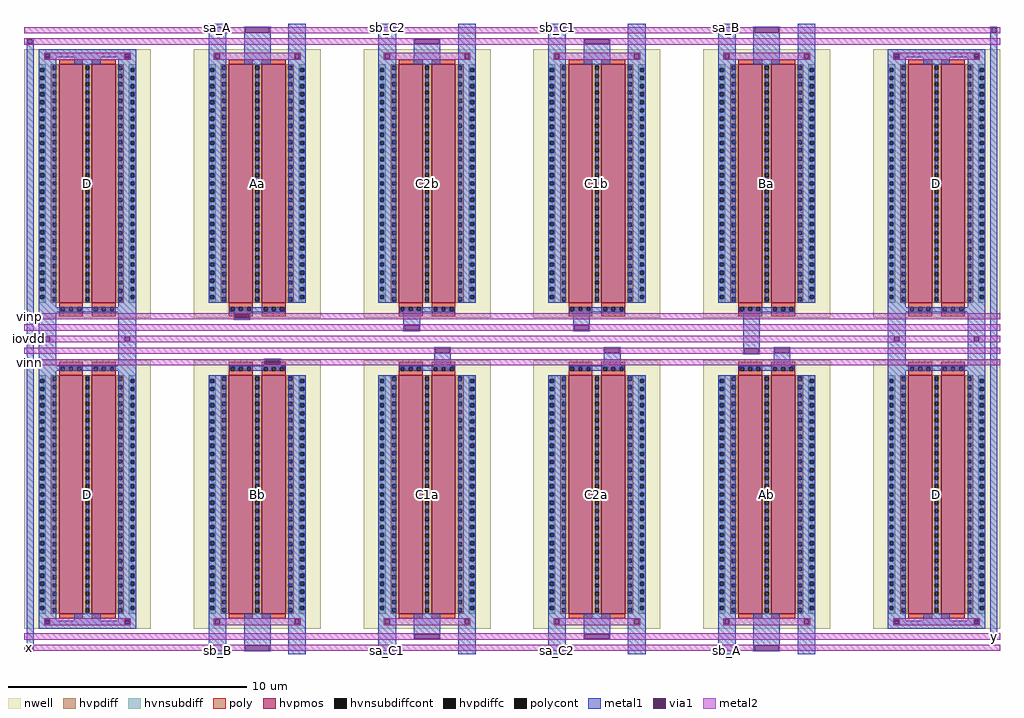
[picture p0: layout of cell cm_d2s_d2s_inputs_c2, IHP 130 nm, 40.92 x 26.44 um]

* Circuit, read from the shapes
.subckt cm_d2s_d2s_inputs_c2 iovdd vinn vref vfb vinp x y sb_B sa_C1 sa_C2 sb_A sa_A sb_C2 sb_C1 sa_B
XM1 iovdd iovdd iovdd iovdd sg13_hv_pmos w=10u l=1u m=8
XM2 x vinn sb_B sb_B sg13_hv_pmos w=10u l=1u m=2
XM3 y vinp sa_A sa_A sg13_hv_pmos w=10u l=1u m=2
XM4 y vref sa_C1 sa_C1 sg13_hv_pmos w=10u l=1u m=2
XM5 x vfb sb_C2 sb_C2 sg13_hv_pmos w=10u l=1u m=2
XM6 y vref sa_C2 sa_C2 sg13_hv_pmos w=10u l=1u m=2
XM7 x vfb sb_C1 sb_C1 sg13_hv_pmos w=10u l=1u m=2
XM8 x vref sb_A sb_A sg13_hv_pmos w=10u l=1u m=2
XM9 y vref sa_B sa_B sg13_hv_pmos w=10u l=1u m=2
.ends

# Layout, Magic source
magic
tech ihp-sg13cmos5l
magscale 1 2
<< metal1 >>
rect 22 5158 80 5167
rect 22 5118 31 5158
rect 71 5118 80 5158
rect 22 74 80 5118
rect 1548 5072 1696 5288
rect 1845 5254 2067 5263
rect 1845 5214 1854 5254
rect 2058 5214 2067 5254
rect 1845 5072 2067 5214
rect 2216 5072 2364 5288
rect 2972 5072 3120 5288
rect 3269 5158 3491 5167
rect 3269 5118 3278 5158
rect 3482 5118 3491 5158
rect 3269 5072 3491 5118
rect 3640 5072 3788 5288
rect 4396 5072 4544 5288
rect 4693 5158 4915 5167
rect 4693 5118 4702 5158
rect 4906 5118 4915 5158
rect 4693 5072 4915 5118
rect 5064 5072 5212 5288
rect 5820 5072 5968 5288
rect 6117 5254 6339 5263
rect 6117 5214 6126 5254
rect 6330 5214 6339 5254
rect 6117 5072 6339 5214
rect 6488 5072 6636 5288
rect 8104 5254 8162 5263
rect 8104 5214 8113 5254
rect 8153 5214 8162 5254
rect 124 5008 940 5072
rect 7244 5008 8060 5072
rect 124 2912 272 2948
rect 792 2912 940 2948
rect 124 2868 940 2912
rect 7244 2912 7392 2948
rect 7912 2912 8060 2948
rect 7244 2868 8060 2912
rect 124 2664 272 2868
rect 124 2624 178 2664
rect 218 2624 272 2664
rect 124 2420 272 2624
rect 792 2664 940 2868
rect 1758 2856 1898 2868
rect 1758 2816 1767 2856
rect 1889 2816 1898 2856
rect 1758 2807 1898 2816
rect 3182 2760 3322 2868
rect 3182 2720 3191 2760
rect 3313 2720 3322 2760
rect 3182 2711 3322 2720
rect 4606 2760 4746 2868
rect 4606 2720 4615 2760
rect 4737 2720 4746 2760
rect 4606 2711 4746 2720
rect 792 2624 846 2664
rect 886 2624 940 2664
rect 792 2420 940 2624
rect 3438 2566 3578 2575
rect 3438 2526 3447 2566
rect 3569 2526 3578 2566
rect 2014 2470 2154 2479
rect 2014 2430 2023 2470
rect 2145 2430 2154 2470
rect 2014 2420 2154 2430
rect 3438 2420 3578 2526
rect 4862 2566 5002 2575
rect 4862 2526 4871 2566
rect 4993 2526 5002 2566
rect 4862 2420 5002 2526
rect 6030 2566 6170 2868
rect 7244 2664 7392 2868
rect 7244 2624 7298 2664
rect 7338 2624 7392 2664
rect 6030 2526 6039 2566
rect 6161 2526 6170 2566
rect 6030 2517 6170 2526
rect 6286 2566 6426 2575
rect 6286 2526 6295 2566
rect 6417 2526 6426 2566
rect 6286 2420 6426 2526
rect 7244 2420 7392 2624
rect 7912 2664 8060 2868
rect 7912 2624 7966 2664
rect 8006 2624 8060 2664
rect 7912 2420 8060 2624
rect 124 2376 940 2420
rect 124 2340 272 2376
rect 792 2340 940 2376
rect 7244 2376 8060 2420
rect 7244 2340 7392 2376
rect 7912 2340 8060 2376
rect 124 216 940 280
rect 7244 216 8060 280
rect 22 34 31 74
rect 71 34 80 74
rect 22 25 80 34
rect 1548 0 1696 216
rect 1845 74 2067 216
rect 1845 34 1854 74
rect 2058 34 2067 74
rect 1845 25 2067 34
rect 2216 0 2364 216
rect 2972 0 3120 216
rect 3269 170 3491 216
rect 3269 130 3278 170
rect 3482 130 3491 170
rect 3269 121 3491 130
rect 3640 0 3788 216
rect 4396 0 4544 216
rect 4693 170 4915 216
rect 4693 130 4702 170
rect 4906 130 4915 170
rect 4693 121 4915 130
rect 5064 0 5212 216
rect 5820 0 5968 216
rect 6117 74 6339 216
rect 6117 34 6126 74
rect 6330 34 6339 74
rect 6117 25 6339 34
rect 6488 0 6636 216
rect 8104 170 8162 5214
rect 8104 130 8113 170
rect 8153 130 8162 170
rect 8104 121 8162 130
<< via1 >>
rect 31 5118 71 5158
rect 1854 5214 2058 5254
rect 3278 5118 3482 5158
rect 4702 5118 4906 5158
rect 6126 5214 6330 5254
rect 8113 5214 8153 5254
rect 178 2624 218 2664
rect 1767 2816 1889 2856
rect 3191 2720 3313 2760
rect 4615 2720 4737 2760
rect 846 2624 886 2664
rect 3447 2526 3569 2566
rect 2023 2430 2145 2470
rect 4871 2526 4993 2566
rect 7298 2624 7338 2664
rect 6039 2526 6161 2566
rect 6295 2526 6417 2566
rect 7966 2624 8006 2664
rect 31 34 71 74
rect 1854 34 2058 74
rect 3278 130 3482 170
rect 4702 130 4906 170
rect 6126 34 6330 74
rect 8113 130 8153 170
<< metal2 >>
rect 0 5254 8184 5260
rect 0 5214 1854 5254
rect 2058 5214 6126 5254
rect 6330 5214 8113 5254
rect 8153 5214 8184 5254
rect 0 5208 8184 5214
rect 0 5158 8184 5164
rect 0 5118 31 5158
rect 71 5118 3278 5158
rect 3482 5118 4702 5158
rect 4906 5118 8184 5158
rect 0 5112 8184 5118
rect 0 2856 8184 2862
rect 0 2816 1767 2856
rect 1889 2816 8184 2856
rect 0 2810 8184 2816
rect 0 2760 8184 2766
rect 0 2720 3191 2760
rect 3313 2720 4615 2760
rect 4737 2720 8184 2760
rect 0 2714 8184 2720
rect 0 2664 8184 2670
rect 0 2624 178 2664
rect 218 2624 846 2664
rect 886 2624 7298 2664
rect 7338 2624 7966 2664
rect 8006 2624 8184 2664
rect 0 2618 8184 2624
rect 0 2566 8184 2572
rect 0 2526 3447 2566
rect 3569 2526 4871 2566
rect 4993 2526 6039 2566
rect 6161 2526 6295 2566
rect 6417 2526 8184 2566
rect 0 2520 8184 2526
rect 0 2470 8184 2476
rect 0 2430 2023 2470
rect 2145 2430 8184 2470
rect 0 2424 8184 2430
rect 0 170 8184 176
rect 0 130 3278 170
rect 3482 130 4702 170
rect 4906 130 8113 170
rect 8153 130 8184 170
rect 0 124 8184 130
rect 0 74 8184 80
rect 0 34 31 74
rect 71 34 1854 74
rect 2058 34 6126 74
rect 6330 34 8184 74
rect 0 28 8184 34
use cm_d2s_tub_p20x1_c2  cm_d2s_tub_p20x1_c2_0
transform 1 0 7346 0 -1 4948
box -226 -124 838 2124
use cm_d2s_tub_p20x1_c2  cm_d2s_tub_p20x1_c2_1
transform 1 0 5922 0 -1 4948
box -226 -124 838 2124
use cm_d2s_tub_p20x1_c2  cm_d2s_tub_p20x1_c2_2
transform 1 0 4498 0 -1 4948
box -226 -124 838 2124
use cm_d2s_tub_p20x1_c2  cm_d2s_tub_p20x1_c2_3
transform 1 0 3074 0 -1 4948
box -226 -124 838 2124
use cm_d2s_tub_p20x1_c2  cm_d2s_tub_p20x1_c2_4
transform 1 0 1650 0 -1 4948
box -226 -124 838 2124
use cm_d2s_tub_p20x1_c2  cm_d2s_tub_p20x1_c2_5
transform 1 0 226 0 -1 4948
box -226 -124 838 2124
use cm_d2s_tub_p20x1_c2  cm_d2s_tub_p20x1_c2_6
transform 1 0 7346 0 1 340
box -226 -124 838 2124
use cm_d2s_tub_p20x1_c2  cm_d2s_tub_p20x1_c2_7
transform 1 0 5922 0 1 340
box -226 -124 838 2124
use cm_d2s_tub_p20x1_c2  cm_d2s_tub_p20x1_c2_8
transform 1 0 4498 0 1 340
box -226 -124 838 2124
use cm_d2s_tub_p20x1_c2  cm_d2s_tub_p20x1_c2_9
transform 1 0 3074 0 1 340
box -226 -124 838 2124
use cm_d2s_tub_p20x1_c2  cm_d2s_tub_p20x1_c2_10
transform 1 0 1650 0 1 340
box -226 -124 838 2124
use cm_d2s_tub_p20x1_c2  cm_d2s_tub_p20x1_c2_11
transform 1 0 226 0 1 340
box -226 -124 838 2124
<< labels >>
rlabel comment s 532 1340 532 1340 4 D
rlabel comment s 1956 1340 1956 1340 4 Bb
rlabel comment s 3380 1340 3380 1340 4 C1a
rlabel comment s 4804 1340 4804 1340 4 C2a
rlabel comment s 6228 1340 6228 1340 4 Ab
rlabel comment s 7652 1340 7652 1340 4 D
rlabel comment s 532 3948 532 3948 4 D
rlabel comment s 1956 3948 1956 3948 4 Aa
rlabel comment s 3380 3948 3380 3948 4 C2b
rlabel comment s 4804 3948 4804 3948 4 C1b
rlabel comment s 6228 3948 6228 3948 4 Ba
rlabel comment s 7652 3948 7652 3948 4 D
rlabel metal2 s 0 2618 100 2670 4 iovdd
port 2 nsew
rlabel metal2 s 0 2424 100 2476 4 vinn
port 3 nsew
rlabel metal2 s 0 2520 100 2572 4 vref
port 4 nsew
rlabel metal2 s 0 2714 100 2766 4 vfb
port 5 nsew
rlabel metal2 s 0 2810 100 2862 4 vinp
port 6 nsew
rlabel metal2 s 0 28 100 80 4 x
port 7 nsew
rlabel metal2 s 8084 124 8184 176 4 y
port 8 nsew
rlabel metal1 s 1548 0 1696 60 4 sb_B
port 9 nsew
rlabel metal1 s 2972 0 3120 60 4 sa_C1
port 10 nsew
rlabel metal1 s 4396 0 4544 60 4 sa_C2
port 11 nsew
rlabel metal1 s 5820 0 5968 60 4 sb_A
port 12 nsew
rlabel metal1 s 1548 5228 1696 5288 4 sa_A
port 13 nsew
rlabel metal1 s 2972 5228 3120 5288 4 sb_C2
port 14 nsew
rlabel metal1 s 4396 5228 4544 5288 4 sb_C1
port 15 nsew
rlabel metal1 s 5820 5228 5968 5288 4 sa_B
port 16 nsew
<< properties >>
string GDS_END 70332
string GDS_FILE custom_io/gds/sg13cmos5l_IOPadDiff2Single.uniq.gds
string GDS_START 61142
<< end >>

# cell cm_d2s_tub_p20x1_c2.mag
magic
tech ihp-sg13cmos5l
magscale 1 2
<< nwell >>
rect -226 -124 838 2124
<< hvnsubdiff >>
rect -102 1968 -42 2000
rect -102 1936 -88 1968
rect -56 1936 -42 1968
rect -102 1900 -42 1936
rect -102 1868 -88 1900
rect -56 1868 -42 1900
rect -102 1832 -42 1868
rect -102 1800 -88 1832
rect -56 1800 -42 1832
rect -102 1764 -42 1800
rect -102 1732 -88 1764
rect -56 1732 -42 1764
rect -102 1696 -42 1732
rect -102 1664 -88 1696
rect -56 1664 -42 1696
rect -102 1628 -42 1664
rect -102 1596 -88 1628
rect -56 1596 -42 1628
rect -102 1560 -42 1596
rect -102 1528 -88 1560
rect -56 1528 -42 1560
rect -102 1492 -42 1528
rect -102 1460 -88 1492
rect -56 1460 -42 1492
rect -102 1424 -42 1460
rect -102 1392 -88 1424
rect -56 1392 -42 1424
rect -102 1356 -42 1392
rect -102 1324 -88 1356
rect -56 1324 -42 1356
rect -102 1288 -42 1324
rect -102 1256 -88 1288
rect -56 1256 -42 1288
rect -102 1220 -42 1256
rect -102 1188 -88 1220
rect -56 1188 -42 1220
rect -102 1152 -42 1188
rect -102 1120 -88 1152
rect -56 1120 -42 1152
rect -102 1084 -42 1120
rect -102 1052 -88 1084
rect -56 1052 -42 1084
rect -102 1016 -42 1052
rect -102 984 -88 1016
rect -56 984 -42 1016
rect -102 948 -42 984
rect -102 916 -88 948
rect -56 916 -42 948
rect -102 880 -42 916
rect -102 848 -88 880
rect -56 848 -42 880
rect -102 812 -42 848
rect -102 780 -88 812
rect -56 780 -42 812
rect -102 744 -42 780
rect -102 712 -88 744
rect -56 712 -42 744
rect -102 676 -42 712
rect -102 644 -88 676
rect -56 644 -42 676
rect -102 608 -42 644
rect -102 576 -88 608
rect -56 576 -42 608
rect -102 540 -42 576
rect -102 508 -88 540
rect -56 508 -42 540
rect -102 472 -42 508
rect -102 440 -88 472
rect -56 440 -42 472
rect -102 404 -42 440
rect -102 372 -88 404
rect -56 372 -42 404
rect -102 336 -42 372
rect -102 304 -88 336
rect -56 304 -42 336
rect -102 268 -42 304
rect -102 236 -88 268
rect -56 236 -42 268
rect -102 200 -42 236
rect -102 168 -88 200
rect -56 168 -42 200
rect -102 132 -42 168
rect -102 100 -88 132
rect -56 100 -42 132
rect -102 64 -42 100
rect -102 32 -88 64
rect -56 32 -42 64
rect -102 0 -42 32
rect 654 1968 714 2000
rect 654 1936 668 1968
rect 700 1936 714 1968
rect 654 1900 714 1936
rect 654 1868 668 1900
rect 700 1868 714 1900
rect 654 1832 714 1868
rect 654 1800 668 1832
rect 700 1800 714 1832
rect 654 1764 714 1800
rect 654 1732 668 1764
rect 700 1732 714 1764
rect 654 1696 714 1732
rect 654 1664 668 1696
rect 700 1664 714 1696
rect 654 1628 714 1664
rect 654 1596 668 1628
rect 700 1596 714 1628
rect 654 1560 714 1596
rect 654 1528 668 1560
rect 700 1528 714 1560
rect 654 1492 714 1528
rect 654 1460 668 1492
rect 700 1460 714 1492
rect 654 1424 714 1460
rect 654 1392 668 1424
rect 700 1392 714 1424
rect 654 1356 714 1392
rect 654 1324 668 1356
rect 700 1324 714 1356
rect 654 1288 714 1324
rect 654 1256 668 1288
rect 700 1256 714 1288
rect 654 1220 714 1256
rect 654 1188 668 1220
rect 700 1188 714 1220
rect 654 1152 714 1188
rect 654 1120 668 1152
rect 700 1120 714 1152
rect 654 1084 714 1120
rect 654 1052 668 1084
rect 700 1052 714 1084
rect 654 1016 714 1052
rect 654 984 668 1016
rect 700 984 714 1016
rect 654 948 714 984
rect 654 916 668 948
rect 700 916 714 948
rect 654 880 714 916
rect 654 848 668 880
rect 700 848 714 880
rect 654 812 714 848
rect 654 780 668 812
rect 700 780 714 812
rect 654 744 714 780
rect 654 712 668 744
rect 700 712 714 744
rect 654 676 714 712
rect 654 644 668 676
rect 700 644 714 676
rect 654 608 714 644
rect 654 576 668 608
rect 700 576 714 608
rect 654 540 714 576
rect 654 508 668 540
rect 700 508 714 540
rect 654 472 714 508
rect 654 440 668 472
rect 700 440 714 472
rect 654 404 714 440
rect 654 372 668 404
rect 700 372 714 404
rect 654 336 714 372
rect 654 304 668 336
rect 700 304 714 336
rect 654 268 714 304
rect 654 236 668 268
rect 700 236 714 268
rect 654 200 714 236
rect 654 168 668 200
rect 700 168 714 200
rect 654 132 714 168
rect 654 100 668 132
rect 700 100 714 132
rect 654 64 714 100
rect 654 32 668 64
rect 700 32 714 64
rect 654 0 714 32
<< hvnsubdiffcont >>
rect -88 1936 -56 1968
rect -88 1868 -56 1900
rect -88 1800 -56 1832
rect -88 1732 -56 1764
rect -88 1664 -56 1696
rect -88 1596 -56 1628
rect -88 1528 -56 1560
rect -88 1460 -56 1492
rect -88 1392 -56 1424
rect -88 1324 -56 1356
rect -88 1256 -56 1288
rect -88 1188 -56 1220
rect -88 1120 -56 1152
rect -88 1052 -56 1084
rect -88 984 -56 1016
rect -88 916 -56 948
rect -88 848 -56 880
rect -88 780 -56 812
rect -88 712 -56 744
rect -88 644 -56 676
rect -88 576 -56 608
rect -88 508 -56 540
rect -88 440 -56 472
rect -88 372 -56 404
rect -88 304 -56 336
rect -88 236 -56 268
rect -88 168 -56 200
rect -88 100 -56 132
rect -88 32 -56 64
rect 668 1936 700 1968
rect 668 1868 700 1900
rect 668 1800 700 1832
rect 668 1732 700 1764
rect 668 1664 700 1696
rect 668 1596 700 1628
rect 668 1528 700 1560
rect 668 1460 700 1492
rect 668 1392 700 1424
rect 668 1324 700 1356
rect 668 1256 700 1288
rect 668 1188 700 1220
rect 668 1120 700 1152
rect 668 1052 700 1084
rect 668 984 700 1016
rect 668 916 700 948
rect 668 848 700 880
rect 668 780 700 812
rect 668 712 700 744
rect 668 644 700 676
rect 668 576 700 608
rect 668 508 700 540
rect 668 440 700 472
rect 668 372 700 404
rect 668 304 700 336
rect 668 236 700 268
rect 668 168 700 200
rect 668 100 700 132
rect 668 32 700 64
<< poly >>
rect 68 2068 268 2112
rect 68 2036 84 2068
rect 116 2036 152 2068
rect 184 2036 220 2068
rect 252 2036 268 2068
rect 68 2000 268 2036
rect 344 2068 544 2112
rect 344 2036 360 2068
rect 392 2036 428 2068
rect 460 2036 496 2068
rect 528 2036 544 2068
rect 344 2000 544 2036
<< polycont >>
rect 84 2036 116 2068
rect 152 2036 184 2068
rect 220 2036 252 2068
rect 360 2036 392 2068
rect 428 2036 460 2068
rect 496 2036 528 2068
<< metal1 >>
rect 74 2068 538 2080
rect 74 2036 84 2068
rect 116 2036 152 2068
rect 184 2036 220 2068
rect 252 2036 360 2068
rect 392 2036 428 2068
rect 460 2036 496 2068
rect 528 2036 538 2068
rect -102 1968 46 2000
rect -102 1936 -88 1968
rect -56 1936 46 1968
rect -102 1900 46 1936
rect -102 1868 -88 1900
rect -56 1868 46 1900
rect -102 1832 46 1868
rect -102 1800 -88 1832
rect -56 1800 46 1832
rect -102 1764 46 1800
rect -102 1732 -88 1764
rect -56 1732 46 1764
rect -102 1696 46 1732
rect -102 1664 -88 1696
rect -56 1664 46 1696
rect -102 1628 46 1664
rect -102 1596 -88 1628
rect -56 1596 46 1628
rect -102 1560 46 1596
rect -102 1528 -88 1560
rect -56 1528 46 1560
rect -102 1492 46 1528
rect -102 1460 -88 1492
rect -56 1460 46 1492
rect -102 1424 46 1460
rect -102 1392 -88 1424
rect -56 1392 46 1424
rect -102 1356 46 1392
rect -102 1324 -88 1356
rect -56 1324 46 1356
rect -102 1288 46 1324
rect -102 1256 -88 1288
rect -56 1256 46 1288
rect -102 1220 46 1256
rect -102 1188 -88 1220
rect -56 1188 46 1220
rect -102 1152 46 1188
rect -102 1120 -88 1152
rect -56 1120 46 1152
rect -102 1084 46 1120
rect -102 1052 -88 1084
rect -56 1052 46 1084
rect -102 1016 46 1052
rect -102 984 -88 1016
rect -56 984 46 1016
rect -102 948 46 984
rect -102 916 -88 948
rect -56 916 46 948
rect -102 880 46 916
rect -102 848 -88 880
rect -56 848 46 880
rect -102 812 46 848
rect -102 780 -88 812
rect -56 780 46 812
rect -102 744 46 780
rect -102 712 -88 744
rect -56 712 46 744
rect -102 676 46 712
rect -102 644 -88 676
rect -56 644 46 676
rect -102 608 46 644
rect -102 576 -88 608
rect -56 576 46 608
rect -102 540 46 576
rect -102 508 -88 540
rect -56 508 46 540
rect -102 472 46 508
rect -102 440 -88 472
rect -56 440 46 472
rect -102 404 46 440
rect -102 372 -88 404
rect -56 372 46 404
rect -102 336 46 372
rect -102 304 -88 336
rect -56 304 46 336
rect -102 268 46 304
rect -102 236 -88 268
rect -56 236 46 268
rect -102 200 46 236
rect -102 168 -88 200
rect -56 168 46 200
rect -102 132 46 168
rect -102 100 -88 132
rect -56 100 46 132
rect -102 64 46 100
rect -102 32 -88 64
rect -56 32 46 64
rect -102 -46 46 32
rect 566 1968 714 2000
rect 566 1936 668 1968
rect 700 1936 714 1968
rect 566 1900 714 1936
rect 566 1868 668 1900
rect 700 1868 714 1900
rect 566 1832 714 1868
rect 566 1800 668 1832
rect 700 1800 714 1832
rect 566 1764 714 1800
rect 566 1732 668 1764
rect 700 1732 714 1764
rect 566 1696 714 1732
rect 566 1664 668 1696
rect 700 1664 714 1696
rect 566 1628 714 1664
rect 566 1596 668 1628
rect 700 1596 714 1628
rect 566 1560 714 1596
rect 566 1528 668 1560
rect 700 1528 714 1560
rect 566 1492 714 1528
rect 566 1460 668 1492
rect 700 1460 714 1492
rect 566 1424 714 1460
rect 566 1392 668 1424
rect 700 1392 714 1424
rect 566 1356 714 1392
rect 566 1324 668 1356
rect 700 1324 714 1356
rect 566 1288 714 1324
rect 566 1256 668 1288
rect 700 1256 714 1288
rect 566 1220 714 1256
rect 566 1188 668 1220
rect 700 1188 714 1220
rect 566 1152 714 1188
rect 566 1120 668 1152
rect 700 1120 714 1152
rect 566 1084 714 1120
rect 566 1052 668 1084
rect 700 1052 714 1084
rect 566 1016 714 1052
rect 566 984 668 1016
rect 700 984 714 1016
rect 566 948 714 984
rect 566 916 668 948
rect 700 916 714 948
rect 566 880 714 916
rect 566 848 668 880
rect 700 848 714 880
rect 566 812 714 848
rect 566 780 668 812
rect 700 780 714 812
rect 566 744 714 780
rect 566 712 668 744
rect 700 712 714 744
rect 566 676 714 712
rect 566 644 668 676
rect 700 644 714 676
rect 566 608 714 644
rect 566 576 668 608
rect 700 576 714 608
rect 566 540 714 576
rect 566 508 668 540
rect 700 508 714 540
rect 566 472 714 508
rect 566 440 668 472
rect 700 440 714 472
rect 566 404 714 440
rect 566 372 668 404
rect 700 372 714 404
rect 566 336 714 372
rect 566 304 668 336
rect 700 304 714 336
rect 566 268 714 304
rect 566 236 668 268
rect 700 236 714 268
rect 566 200 714 236
rect 566 168 668 200
rect 700 168 714 200
rect 566 132 714 168
rect 566 100 668 132
rect 700 100 714 132
rect 566 64 714 100
rect 566 32 668 64
rect 700 32 714 64
rect -102 -86 -48 -46
rect -8 -86 46 -46
rect -102 -124 46 -86
rect 195 -124 417 0
rect 566 -46 714 32
rect 566 -86 620 -46
rect 660 -86 714 -46
rect 566 -124 714 -86
<< via1 >>
rect -48 -86 -8 -46
rect 620 -86 660 -46
<< metal2 >>
rect -57 -46 669 -37
rect -57 -86 -48 -46
rect -8 -86 620 -46
rect 660 -86 669 -46
rect -57 -95 669 -86
use cm_d2s_pmosHV_w20_l1_ng2  cm_d2s_pmosHV_w20_l1_ng2_0
transform 1 0 0 0 1 0
box -124 -124 736 2124
<< labels >>
rlabel comment s 306 1000 306 1000 4 M
<< properties >>
string GDS_END 12182
string GDS_FILE custom_io/gds/sg13cmos5l_IOPadDiff2Single.uniq.gds
string GDS_START 7036
<< end >>

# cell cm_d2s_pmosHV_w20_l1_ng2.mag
magic
tech ihp-sg13cmos5l
magscale 1 2
<< nwell >>
rect -124 -124 736 2124
<< hvpmos >>
rect 68 0 268 2000
rect 344 0 544 2000
<< hvpdiff >>
rect 0 1986 68 2000
rect 0 1954 14 1986
rect 46 1954 68 1986
rect 0 1916 68 1954
rect 0 1884 14 1916
rect 46 1884 68 1916
rect 0 1847 68 1884
rect 0 1815 14 1847
rect 46 1815 68 1847
rect 0 1778 68 1815
rect 0 1746 14 1778
rect 46 1746 68 1778
rect 0 1708 68 1746
rect 0 1676 14 1708
rect 46 1676 68 1708
rect 0 1639 68 1676
rect 0 1607 14 1639
rect 46 1607 68 1639
rect 0 1570 68 1607
rect 0 1538 14 1570
rect 46 1538 68 1570
rect 0 1501 68 1538
rect 0 1469 14 1501
rect 46 1469 68 1501
rect 0 1431 68 1469
rect 0 1399 14 1431
rect 46 1399 68 1431
rect 0 1362 68 1399
rect 0 1330 14 1362
rect 46 1330 68 1362
rect 0 1293 68 1330
rect 0 1261 14 1293
rect 46 1261 68 1293
rect 0 1223 68 1261
rect 0 1191 14 1223
rect 46 1191 68 1223
rect 0 1154 68 1191
rect 0 1122 14 1154
rect 46 1122 68 1154
rect 0 1085 68 1122
rect 0 1053 14 1085
rect 46 1053 68 1085
rect 0 1016 68 1053
rect 0 984 14 1016
rect 46 984 68 1016
rect 0 946 68 984
rect 0 914 14 946
rect 46 914 68 946
rect 0 877 68 914
rect 0 845 14 877
rect 46 845 68 877
rect 0 808 68 845
rect 0 776 14 808
rect 46 776 68 808
rect 0 738 68 776
rect 0 706 14 738
rect 46 706 68 738
rect 0 669 68 706
rect 0 637 14 669
rect 46 637 68 669
rect 0 600 68 637
rect 0 568 14 600
rect 46 568 68 600
rect 0 531 68 568
rect 0 499 14 531
rect 46 499 68 531
rect 0 461 68 499
rect 0 429 14 461
rect 46 429 68 461
rect 0 392 68 429
rect 0 360 14 392
rect 46 360 68 392
rect 0 323 68 360
rect 0 291 14 323
rect 46 291 68 323
rect 0 253 68 291
rect 0 221 14 253
rect 46 221 68 253
rect 0 184 68 221
rect 0 152 14 184
rect 46 152 68 184
rect 0 115 68 152
rect 0 83 14 115
rect 46 83 68 115
rect 0 46 68 83
rect 0 14 14 46
rect 46 14 68 46
rect 0 0 68 14
rect 268 1986 344 2000
rect 268 1954 290 1986
rect 322 1954 344 1986
rect 268 1916 344 1954
rect 268 1884 290 1916
rect 322 1884 344 1916
rect 268 1847 344 1884
rect 268 1815 290 1847
rect 322 1815 344 1847
rect 268 1778 344 1815
rect 268 1746 290 1778
rect 322 1746 344 1778
rect 268 1708 344 1746
rect 268 1676 290 1708
rect 322 1676 344 1708
rect 268 1639 344 1676
rect 268 1607 290 1639
rect 322 1607 344 1639
rect 268 1570 344 1607
rect 268 1538 290 1570
rect 322 1538 344 1570
rect 268 1501 344 1538
rect 268 1469 290 1501
rect 322 1469 344 1501
rect 268 1431 344 1469
rect 268 1399 290 1431
rect 322 1399 344 1431
rect 268 1362 344 1399
rect 268 1330 290 1362
rect 322 1330 344 1362
rect 268 1293 344 1330
rect 268 1261 290 1293
rect 322 1261 344 1293
rect 268 1223 344 1261
rect 268 1191 290 1223
rect 322 1191 344 1223
rect 268 1154 344 1191
rect 268 1122 290 1154
rect 322 1122 344 1154
rect 268 1085 344 1122
rect 268 1053 290 1085
rect 322 1053 344 1085
rect 268 1016 344 1053
rect 268 984 290 1016
rect 322 984 344 1016
rect 268 946 344 984
rect 268 914 290 946
rect 322 914 344 946
rect 268 877 344 914
rect 268 845 290 877
rect 322 845 344 877
rect 268 808 344 845
rect 268 776 290 808
rect 322 776 344 808
rect 268 738 344 776
rect 268 706 290 738
rect 322 706 344 738
rect 268 669 344 706
rect 268 637 290 669
rect 322 637 344 669
rect 268 600 344 637
rect 268 568 290 600
rect 322 568 344 600
rect 268 531 344 568
rect 268 499 290 531
rect 322 499 344 531
rect 268 461 344 499
rect 268 429 290 461
rect 322 429 344 461
rect 268 392 344 429
rect 268 360 290 392
rect 322 360 344 392
rect 268 323 344 360
rect 268 291 290 323
rect 322 291 344 323
rect 268 253 344 291
rect 268 221 290 253
rect 322 221 344 253
rect 268 184 344 221
rect 268 152 290 184
rect 322 152 344 184
rect 268 115 344 152
rect 268 83 290 115
rect 322 83 344 115
rect 268 46 344 83
rect 268 14 290 46
rect 322 14 344 46
rect 268 0 344 14
rect 544 1986 612 2000
rect 544 1954 566 1986
rect 598 1954 612 1986
rect 544 1916 612 1954
rect 544 1884 566 1916
rect 598 1884 612 1916
rect 544 1847 612 1884
rect 544 1815 566 1847
rect 598 1815 612 1847
rect 544 1778 612 1815
rect 544 1746 566 1778
rect 598 1746 612 1778
rect 544 1708 612 1746
rect 544 1676 566 1708
rect 598 1676 612 1708
rect 544 1639 612 1676
rect 544 1607 566 1639
rect 598 1607 612 1639
rect 544 1570 612 1607
rect 544 1538 566 1570
rect 598 1538 612 1570
rect 544 1501 612 1538
rect 544 1469 566 1501
rect 598 1469 612 1501
rect 544 1431 612 1469
rect 544 1399 566 1431
rect 598 1399 612 1431
rect 544 1362 612 1399
rect 544 1330 566 1362
rect 598 1330 612 1362
rect 544 1293 612 1330
rect 544 1261 566 1293
rect 598 1261 612 1293
rect 544 1223 612 1261
rect 544 1191 566 1223
rect 598 1191 612 1223
rect 544 1154 612 1191
rect 544 1122 566 1154
rect 598 1122 612 1154
rect 544 1085 612 1122
rect 544 1053 566 1085
rect 598 1053 612 1085
rect 544 1016 612 1053
rect 544 984 566 1016
rect 598 984 612 1016
rect 544 946 612 984
rect 544 914 566 946
rect 598 914 612 946
rect 544 877 612 914
rect 544 845 566 877
rect 598 845 612 877
rect 544 808 612 845
rect 544 776 566 808
rect 598 776 612 808
rect 544 738 612 776
rect 544 706 566 738
rect 598 706 612 738
rect 544 669 612 706
rect 544 637 566 669
rect 598 637 612 669
rect 544 600 612 637
rect 544 568 566 600
rect 598 568 612 600
rect 544 531 612 568
rect 544 499 566 531
rect 598 499 612 531
rect 544 461 612 499
rect 544 429 566 461
rect 598 429 612 461
rect 544 392 612 429
rect 544 360 566 392
rect 598 360 612 392
rect 544 323 612 360
rect 544 291 566 323
rect 598 291 612 323
rect 544 253 612 291
rect 544 221 566 253
rect 598 221 612 253
rect 544 184 612 221
rect 544 152 566 184
rect 598 152 612 184
rect 544 115 612 152
rect 544 83 566 115
rect 598 83 612 115
rect 544 46 612 83
rect 544 14 566 46
rect 598 14 612 46
rect 544 0 612 14
<< hvpdiffc >>
rect 14 1954 46 1986
rect 14 1884 46 1916
rect 14 1815 46 1847
rect 14 1746 46 1778
rect 14 1676 46 1708
rect 14 1607 46 1639
rect 14 1538 46 1570
rect 14 1469 46 1501
rect 14 1399 46 1431
rect 14 1330 46 1362
rect 14 1261 46 1293
rect 14 1191 46 1223
rect 14 1122 46 1154
rect 14 1053 46 1085
rect 14 984 46 1016
rect 14 914 46 946
rect 14 845 46 877
rect 14 776 46 808
rect 14 706 46 738
rect 14 637 46 669
rect 14 568 46 600
rect 14 499 46 531
rect 14 429 46 461
rect 14 360 46 392
rect 14 291 46 323
rect 14 221 46 253
rect 14 152 46 184
rect 14 83 46 115
rect 14 14 46 46
rect 290 1954 322 1986
rect 290 1884 322 1916
rect 290 1815 322 1847
rect 290 1746 322 1778
rect 290 1676 322 1708
rect 290 1607 322 1639
rect 290 1538 322 1570
rect 290 1469 322 1501
rect 290 1399 322 1431
rect 290 1330 322 1362
rect 290 1261 322 1293
rect 290 1191 322 1223
rect 290 1122 322 1154
rect 290 1053 322 1085
rect 290 984 322 1016
rect 290 914 322 946
rect 290 845 322 877
rect 290 776 322 808
rect 290 706 322 738
rect 290 637 322 669
rect 290 568 322 600
rect 290 499 322 531
rect 290 429 322 461
rect 290 360 322 392
rect 290 291 322 323
rect 290 221 322 253
rect 290 152 322 184
rect 290 83 322 115
rect 290 14 322 46
rect 566 1954 598 1986
rect 566 1884 598 1916
rect 566 1815 598 1847
rect 566 1746 598 1778
rect 566 1676 598 1708
rect 566 1607 598 1639
rect 566 1538 598 1570
rect 566 1469 598 1501
rect 566 1399 598 1431
rect 566 1330 598 1362
rect 566 1261 598 1293
rect 566 1191 598 1223
rect 566 1122 598 1154
rect 566 1053 598 1085
rect 566 984 598 1016
rect 566 914 598 946
rect 566 845 598 877
rect 566 776 598 808
rect 566 706 598 738
rect 566 637 598 669
rect 566 568 598 600
rect 566 499 598 531
rect 566 429 598 461
rect 566 360 598 392
rect 566 291 598 323
rect 566 221 598 253
rect 566 152 598 184
rect 566 83 598 115
rect 566 14 598 46
<< poly >>
rect 68 2000 268 2036
rect 344 2000 544 2036
rect 68 -36 268 0
rect 344 -36 544 0
<< metal1 >>
rect 14 1986 46 2000
rect 14 1916 46 1954
rect 14 1847 46 1884
rect 14 1778 46 1815
rect 14 1708 46 1746
rect 14 1639 46 1676
rect 14 1570 46 1607
rect 14 1501 46 1538
rect 14 1431 46 1469
rect 14 1362 46 1399
rect 14 1293 46 1330
rect 14 1223 46 1261
rect 14 1154 46 1191
rect 14 1085 46 1122
rect 14 1016 46 1053
rect 14 946 46 984
rect 14 877 46 914
rect 14 808 46 845
rect 14 738 46 776
rect 14 669 46 706
rect 14 600 46 637
rect 14 531 46 568
rect 14 461 46 499
rect 14 392 46 429
rect 14 323 46 360
rect 14 253 46 291
rect 14 184 46 221
rect 14 115 46 152
rect 14 46 46 83
rect 14 0 46 14
rect 290 1986 322 2000
rect 290 1916 322 1954
rect 290 1847 322 1884
rect 290 1778 322 1815
rect 290 1708 322 1746
rect 290 1639 322 1676
rect 290 1570 322 1607
rect 290 1501 322 1538
rect 290 1431 322 1469
rect 290 1362 322 1399
rect 290 1293 322 1330
rect 290 1223 322 1261
rect 290 1154 322 1191
rect 290 1085 322 1122
rect 290 1016 322 1053
rect 290 946 322 984
rect 290 877 322 914
rect 290 808 322 845
rect 290 738 322 776
rect 290 669 322 706
rect 290 600 322 637
rect 290 531 322 568
rect 290 461 322 499
rect 290 392 322 429
rect 290 323 322 360
rect 290 253 322 291
rect 290 184 322 221
rect 290 115 322 152
rect 290 46 322 83
rect 290 0 322 14
rect 566 1986 598 2000
rect 566 1916 598 1954
rect 566 1847 598 1884
rect 566 1778 598 1815
rect 566 1708 598 1746
rect 566 1639 598 1676
rect 566 1570 598 1607
rect 566 1501 598 1538
rect 566 1431 598 1469
rect 566 1362 598 1399
rect 566 1293 598 1330
rect 566 1223 598 1261
rect 566 1154 598 1191
rect 566 1085 598 1122
rect 566 1016 598 1053
rect 566 946 598 984
rect 566 877 598 914
rect 566 808 598 845
rect 566 738 598 776
rect 566 669 598 706
rect 566 600 598 637
rect 566 531 598 568
rect 566 461 598 499
rect 566 392 598 429
rect 566 323 598 360
rect 566 253 598 291
rect 566 184 598 221
rect 566 115 598 152
rect 566 46 598 83
rect 566 0 598 14
<< labels >>
flabel comment s 168 1000 168 1000 0 FreeSans 200 90 0 0 pmosHV
<< properties >>
string GDS_END 6984
string GDS_FILE custom_io/gds/sg13cmos5l_IOPadDiff2Single.uniq.gds
string GDS_START 118
<< end >>
